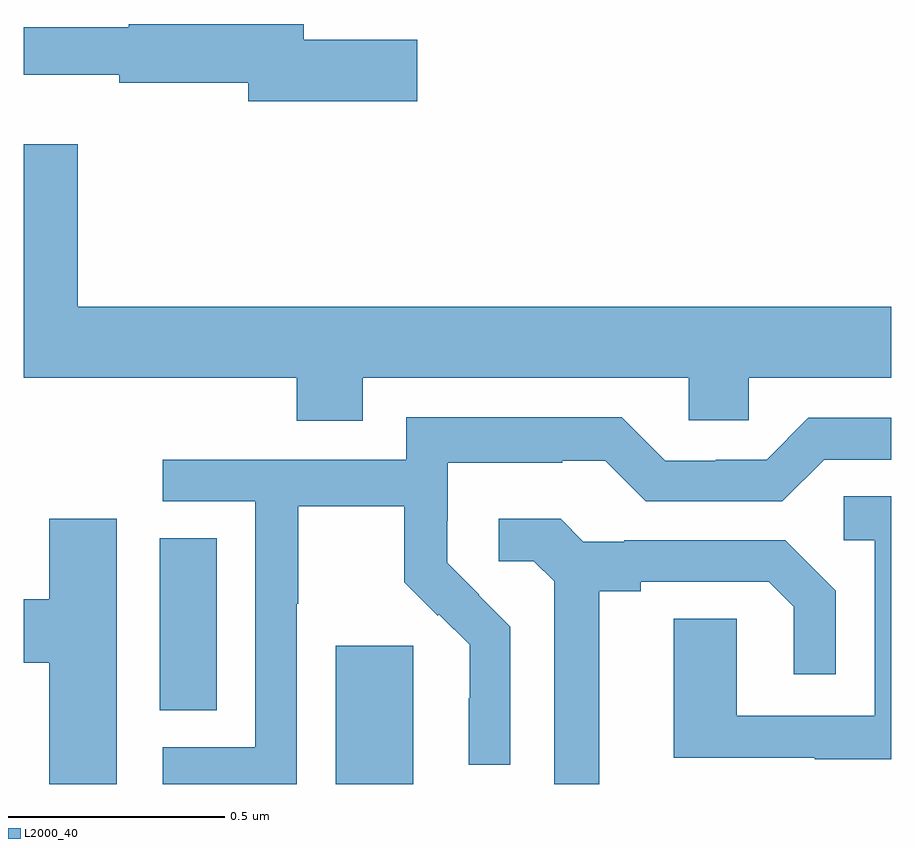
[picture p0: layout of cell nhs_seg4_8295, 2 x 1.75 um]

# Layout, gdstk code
import gdstk
lib = gdstk.Library(unit=1e-6, precision=1e-09)
def R(c, l, rs):  # rectangles x0, y0, x1, y1
    for r in rs: c.add(gdstk.rectangle(r[:2], r[2:], *l))
def P(c, l, *ps):  # polygons
    for p in ps: c.add(gdstk.Polygon(p, *l))
L2000_40 = (2000, 40)

nhs_seg4_8295 = lib.new_cell('nhs_seg4_8295')
R(nhs_seg4_8295, L2000_40, [(213.719,779.9,213.898,780.219), (213.314,780.07,213.445,780.467)])
P(nhs_seg4_8295, L2000_40, [(213.907,781.616),(213.646,781.616),(213.646,781.652),(213.242,781.652),(213.242,781.645),(213,781.645),(213,781.535),(213.22,781.535),(213.22,781.516),(213.518,781.516),(213.518,781.474),(213.907,781.474)],
  [(213.781,780.836),(214.533,780.836),(214.533,780.738),(214.671,780.738),(214.671,780.836),(215,780.836),(215,781),(213.124,781),(213.124,781.375),(213,781.375),(213,780.836),(213.629,780.836),(213.629,780.737),(213.781,780.737)],
  [(213.63,780.316),(213.633,780.316),(213.633,780.54),(213.877,780.54),(213.877,780.365),(213.954,780.288),(213.957,780.291),(214.028,780.221),(214.028,780.098),(214.026,780.098),(214.026,779.944),(214.122,779.944),(214.122,780.262),(214.049,780.335),(214.05,780.336),(213.976,780.41),(213.976,780.507),(213.978,780.507),(213.978,780.641),(214.241,780.641),(214.241,780.645),(214.341,780.645),(214.434,780.552),(214.749,780.552),(214.845,780.648),(215,780.648),(215,780.744),(214.809,780.744),(214.713,780.648),(214.595,780.648),(214.595,780.645),(214.479,780.645),(214.379,780.745),(213.882,780.745),(213.882,780.648),(213.321,780.648),(213.321,780.552),(213.534,780.552),(213.534,779.985),(213.321,779.985),(213.321,779.9),(213.63,779.9)],
  [(215,780.563),(214.89,780.563),(214.89,780.462),(214.962,780.462),(214.962,780.057),(214.644,780.057),(214.644,780.281),(214.499,780.281),(214.499,779.961),(214.823,779.961),(214.823,779.957),(215,779.957)],
  [(214.327,780.344),(214.423,780.344),(214.423,780.366),(214.718,780.366),(214.775,780.309),(214.775,780.153),(214.872,780.153),(214.872,780.346),(214.756,780.462),(214.384,780.462),(214.384,780.459),(214.29,780.459),(214.238,780.511),(214.095,780.511),(214.095,780.414),(214.176,780.414),(214.223,780.367),(214.223,779.9),(214.327,779.9)],
  [(213.214,780.511),(213.059,780.511),(213.059,780.326),(213,780.326),(213,780.179),(213.059,780.179),(213.059,779.9),(213.214,779.9)])

lib.write_gds('nhs_seg4_8295.gds')
